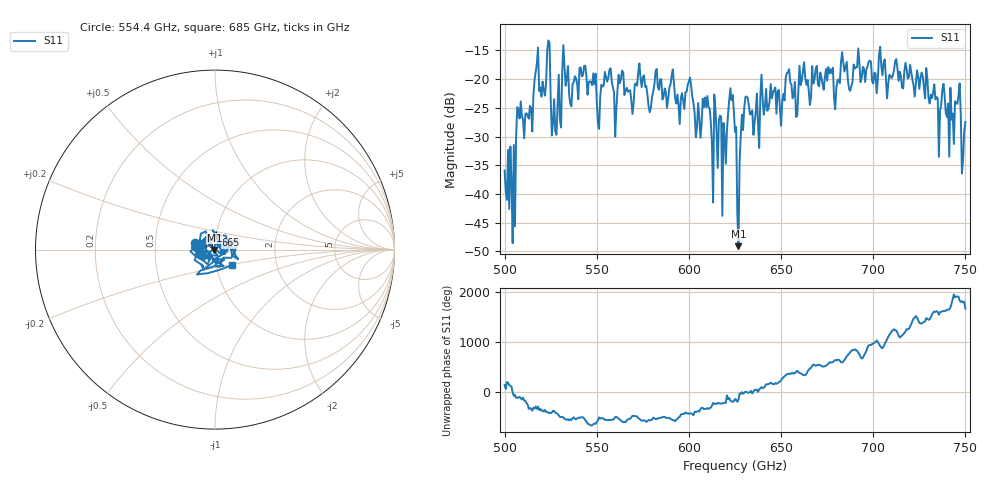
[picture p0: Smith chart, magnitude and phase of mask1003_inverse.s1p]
!Created with skrf (http://scikit-rf.org).
# GHz S MA R 50.0
!freq magS11 angS11
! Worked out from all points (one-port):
!   401 points, 500 GHz to 750 GHz, reference 50 ohm
!   lowest |S11| = -49.1 dB at 626.9 GHz (marker M1), VSWR 1.01, Z = 49.7 - j0.161 ohm
!   |S11| at or under -10 dB: start of sweep to end of sweep
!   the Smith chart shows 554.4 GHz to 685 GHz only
!   S11 on the Smith chart (normalised r, x): 554.4 GHz: 0.80, +0.06; 665 GHz: 1.00, +0.16; 685 GHz: 1.19, -0.21
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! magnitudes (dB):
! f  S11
! 500 GHz  -35.9
! 505 GHz  -31.5
! 507.5 GHz  -25.3
! 513.8 GHz  -24.7
! 516.9 GHz  -18.8
! 523.8 GHz  -13.3
! 526.9 GHz  -23.5
! 531.2 GHz  -18.7
! 542.5 GHz  -19.4
! 551.2 GHz  -28.7
! 554.4 GHz  -18.7
! 562.5 GHz  -20.7
! 593.8 GHz  -22.7
! 600.6 GHz  -19.7
! 605 GHz  -24.2
! 619.4 GHz  -29.9
! 623.1 GHz  -23.7
! 625 GHz  -29.2
! 626.9 GHz  -49.1
! 631.2 GHz  -23.0
! 656.2 GHz  -23.3
! 665 GHz  -21.9
! 685 GHz  -17.8
! 687.5 GHz  -22.0
! 718.8 GHz  -19.9
! 742.5 GHz  -27.1
! 745.6 GHz  -24.3
! 750 GHz  -27.5
